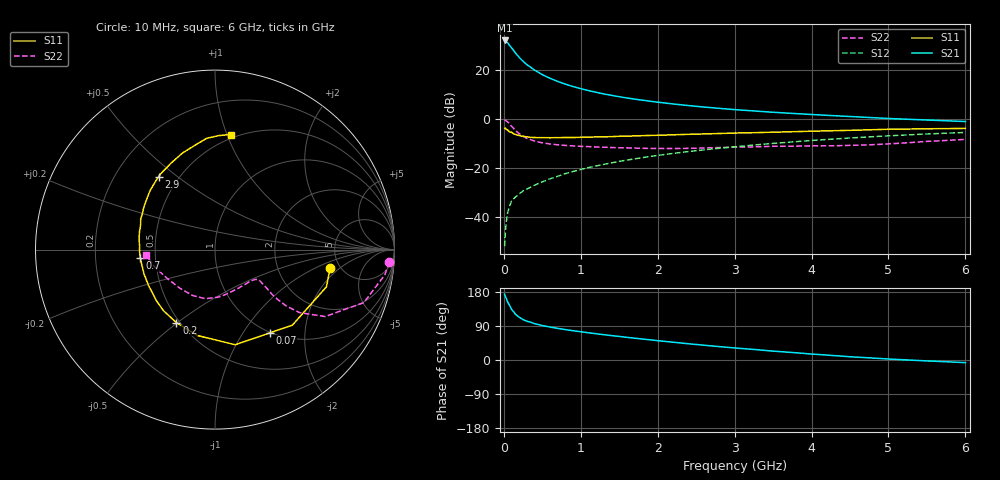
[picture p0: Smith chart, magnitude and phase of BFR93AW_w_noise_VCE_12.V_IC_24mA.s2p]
! Infineon Technologies  Discrete & RF Semiconductors
! BFR93AW
! VCE =  12. V,  IC =  24 mA
! Common Emitter S-Parameters:  Jan 2017
# GHz  S  MA  R  50
!  f  S11  S21  S12  S22
! GHz  MAG  ANG  MAG  ANG  MAG  ANG  MAG  ANG
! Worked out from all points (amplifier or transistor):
!   77 points, 10 MHz to 6 GHz, reference 50 ohm
!   highest |S21| = 32.3 dB at 10 MHz (marker M1)
!   |S21| within 3 dB of that: start of sweep to 100.5 MHz
!   unconditionally stable (mu >= 1): 659.9 MHz to 2.081 GHz
!   at 130 MHz: K = 0.46, MSG = 30.3 dB, |S12| = -32.5 dB
!   at 2.2 GHz: K = 0.99, MSG = 10.1 dB, |S12| = -14.0 dB
!   at 6 GHz: K = 0.85, MSG = 2.2 dB, |S12| = -5.4 dB
!   lowest NFmin = 1.63 dB at 450 MHz
!   S11 on the Smith chart (normalised r, x): 10 MHz: 4.15, -1.49; 70 MHz: 0.99, -1.33; 200 MHz: 0.48, -0.50; 700 MHz: 0.41, -0.05; 2.9 GHz: 0.39, +0.43; 6 GHz: 0.47, +1.03
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0.01  0.6498 -9.2  40.99 173.4  0.0025 81.7  0.9732 -4.1
0.02  0.6544 -18.5  40.65 168.1  0.005 85.6  0.9563 -8.5
0.05  0.6026 -44.3  36.78 152.5  0.0122 70.8  0.8801 -19.6
0.07  0.5551 -56.8  33.28 145.9  0.0156 65.9  0.8114 -23.7
0.1  0.542 -78.0  29.09 133.3  0.0209 61.6  0.718 -31.3
0.15  0.4885 -101.5  22.83 120.9  0.0254 58.7  0.5879 -36.7
0.2  0.4604 -117.8  18.41 112.7  0.0295 58.0  0.5023 -38.4
0.25  0.4452 -130.3  15.35 106.6  0.034 57.8  0.4451 -38.5
0.3  0.4331 -139.0  13.06 102.3  0.037 59.2  0.404 -38.1
0.4  0.4206 -151.8  10.09 95.8  0.0443 61.8  0.356 -36.6
0.5  0.4181 -160.9  8.172 90.9  0.0519 64.2  0.3275 -35.7
0.6  0.4165 -168.1  6.885 86.9  0.06 65.6  0.3103 -35.0
0.7  0.4187 -173.8  5.934 83.5  0.0676 66.8  0.2983 -34.8
0.9  0.4207 177.0  4.655 77.3  0.0848 68.4  0.2835 -35.9
1.1  0.4291 169.7  3.857 71.9  0.102 69.0  0.2738 -38.1
1.5  0.4464 158.1  2.882 62.2  0.1362 68.1  0.2593 -45.3
2.1  0.4727 143.6  2.138 49.0  0.1898 64.9  0.2507 -61.2
2.9  0.5136 127.6  1.617 33.6  0.2624 58.9  0.264 -85.2
3.1  0.5227 123.8  1.531 30.2  0.2811 57.1  0.2679 -90.8
4.1  0.5715 107.1  1.223 14.4  0.3746 47.6  0.2837 -119.0
5.1  0.6239 93.0  1.018 1.6  0.4637 36.9  0.3182 -152.8
6  0.647 82.3  0.894 -7.0  0.5354 26.7  0.3855 -175.7
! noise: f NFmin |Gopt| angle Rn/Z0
0.45  1.63  0.16  169  0.16
0.9  1.9  0.24  180  0.16
1.9  2.91  0.49  -137  0.25
2.4  3.56  0.55  -125  0.49
